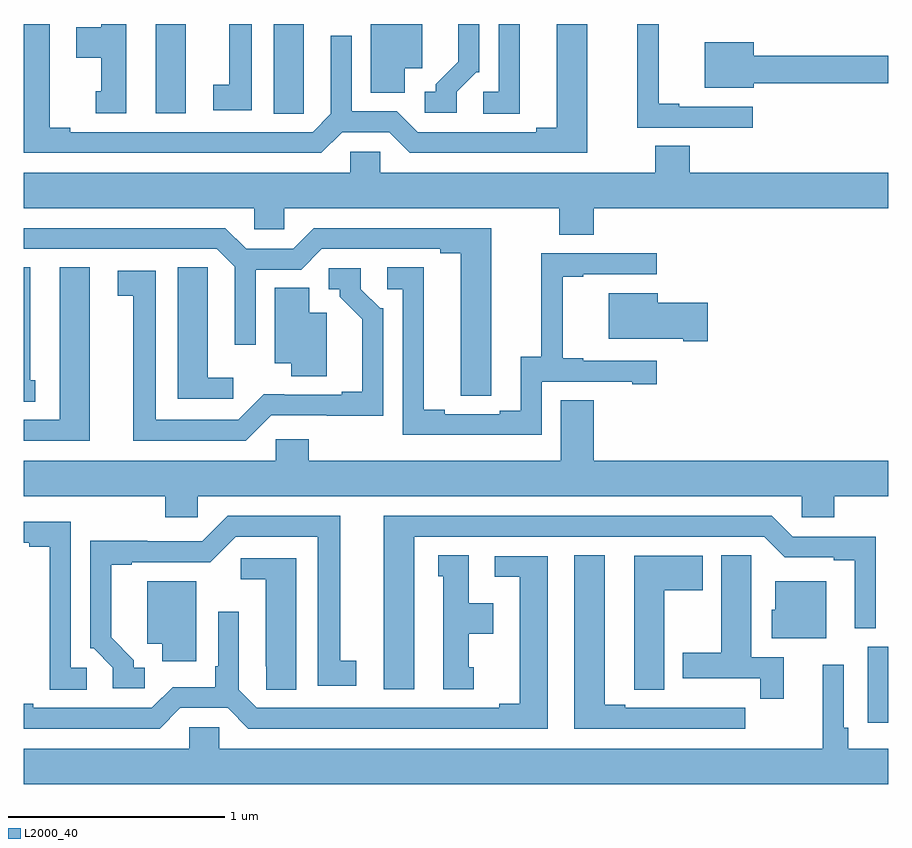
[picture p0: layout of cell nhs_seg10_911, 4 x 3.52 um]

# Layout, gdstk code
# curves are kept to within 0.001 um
import gdstk
lib = gdstk.Library(unit=1e-6, precision=1e-09)
def R(c, l, rs):  # rectangles x0, y0, x1, y1
    for r in rs: c.add(gdstk.rectangle(r[:2], r[2:], *l))
def P(c, l, *ps):  # polygons
    for p in ps: c.add(gdstk.Polygon(p, *l))
L2000_40 = (2000, 40)

nhs_seg10_911 = lib.new_cell('nhs_seg10_911')
R(nhs_seg10_911, L2000_40, [(160.904,1299.267,161,1299.619), (157.61,1302.087,157.75,1302.5)])
P(nhs_seg10_911, L2000_40, [(158.473,1302),(158.691,1302),(158.787,1301.904),(159.607,1301.904),(159.607,1302.5),(159.467,1302.5),(159.467,1302.02),(159.371,1302.02),(159.371,1302),(158.823,1302),(158.727,1302.096),(158.517,1302.096),(158.517,1302.445),(158.421,1302.445),(158.421,1302.084),(158.337,1302),(157.216,1302),(157.216,1302.02),(157.12,1302.02),(157.12,1302.5),(157,1302.5),(157,1301.904),(158.377,1301.904)],
  [(158.764,1302.296),(158.845,1302.296),(158.845,1302.5),(158.606,1302.5),(158.606,1302.181),(158.764,1302.181)],
  [(160.372,1302.117),(160.033,1302.117),(160.033,1302.13),(159.938,1302.13),(159.938,1302.5),(159.743,1302.5),(159.743,1302.499),(159.838,1302.499),(159.838,1302.021),(160.372,1302.021)],
  [(159.295,1302.5),(159.198,1302.5),(159.198,1302.186),(159.126,1302.186),(159.126,1302.085),(159.295,1302.085)],
  [(158.056,1302.5),(157.952,1302.5),(157.952,1302.218),(157.878,1302.218),(157.878,1302.102),(158.056,1302.102)],
  [(158.295,1302.193),(158.296,1302.193),(158.296,1302.5),(158.156,1302.5),(158.156,1302.085),(158.295,1302.085)],
  [(157.474,1302.5),(157.358,1302.5),(157.358,1302.484),(157.244,1302.484),(157.244,1302.344),(157.358,1302.344),(157.358,1302.189),(157.334,1302.189),(157.334,1302.087),(157.474,1302.087)],
  [(159.003,1302.186),(159.093,1302.276),(159.108,1302.276),(159.108,1302.5),(159.011,1302.5),(159.011,1302.326),(158.906,1302.221),(158.906,1302.186),(158.856,1302.186),(158.856,1302.09),(159.003,1302.09)],
  [(160.378,1302.225),(161,1302.225),(161,1302.353),(160.378,1302.353),(160.378,1302.415),(160.151,1302.415),(160.151,1302.206),(160.378,1302.206)],
  [(159.638,1301.648),(161,1301.648),(161,1301.812),(160.082,1301.812),(160.082,1301.936),(159.922,1301.936),(159.922,1301.812),(158.649,1301.812),(158.649,1301.91),(158.511,1301.91),(158.511,1301.812),(157,1301.812),(157,1301.648),(158.067,1301.648),(158.067,1301.55),(158.205,1301.55),(158.205,1301.648),(159.478,1301.648),(159.478,1301.524),(159.638,1301.524)],
  [(159.162,1300.888),(159.163,1301.556),(158.343,1301.556),(158.247,1301.46),(158.029,1301.46),(157.933,1301.556),(157,1301.556),(157,1301.46),(157.893,1301.46),(157.977,1301.376),(157.977,1301.016),(158.073,1301.016),(158.073,1301.364),(158.283,1301.364),(158.379,1301.46),(158.927,1301.46),(158.927,1301.44),(159.023,1301.44),(159.023,1300.78),(159.162,1300.78)],
  [(159.396,1300.845),(159.815,1300.845),(159.815,1300.833),(159.928,1300.833),(159.928,1300.941),(159.589,1300.941),(159.589,1300.954),(159.494,1300.954),(159.494,1301.331),(159.589,1301.331),(159.589,1301.343),(159.928,1301.343),(159.928,1301.439),(159.394,1301.439),(159.394,1300.961),(159.299,1300.961),(159.299,1300.71),(159.203,1300.71),(159.203,1300.695),(158.947,1300.695),(158.947,1300.715),(158.851,1300.715),(158.851,1301.375),(158.682,1301.375),(158.682,1301.274),(158.754,1301.274),(158.754,1300.599),(159.396,1300.599)],
  [(157.969,1300.864),(157.852,1300.864),(157.852,1301.267),(157.851,1301.267),(157.851,1301.375),(157.712,1301.375),(157.712,1300.767),(157.969,1300.767)],
  [(157.306,1301.374),(157.166,1301.374),(157.166,1300.668),(157,1300.668),(157,1300.572),(157.306,1300.572)],
  [(157.054,1300.851),(157.03,1300.851),(157.03,1301.374),(157,1301.374),(157,1300.753),(157.054,1300.753)],
  [(158.145,1300.689),(158.664,1300.688),(158.664,1301.184),(158.649,1301.184),(158.559,1301.274),(158.559,1301.37),(158.412,1301.37),(158.412,1301.274),(158.462,1301.274),(158.462,1301.239),(158.567,1301.134),(158.567,1300.798),(158.471,1300.798),(158.471,1300.785),(158.11,1300.786),(157.992,1300.668),(157.612,1300.668),(157.612,1301.358),(157.434,1301.358),(157.434,1301.242),(157.508,1301.242),(157.508,1300.572),(158.028,1300.572)],
  [(158.401,1301.164),(158.32,1301.164),(158.32,1301.279),(158.162,1301.279),(158.162,1300.931),(158.237,1300.931),(158.237,1300.87),(158.401,1300.87)],
  [(160.165,1301.211),(159.934,1301.211),(159.934,1301.254),(159.707,1301.254),(159.707,1301.045),(160.052,1301.045),(160.052,1301.033),(160.165,1301.033)],
  [(157.806,1300.316),(160.599,1300.316),(160.599,1300.218),(160.751,1300.218),(160.751,1300.316),(161,1300.316),(161,1300.48),(159.638,1300.48),(159.638,1300.76),(159.485,1300.76),(159.485,1300.48),(158.318,1300.48),(158.318,1300.578),(158.166,1300.578),(158.166,1300.48),(157,1300.48),(157,1300.316),(157.655,1300.316),(157.655,1300.218),(157.806,1300.218)],
  [(158.806,1300.128),(160.425,1300.128),(160.521,1300.032),(160.748,1300.032),(160.748,1300.02),(160.844,1300.02),(160.844,1299.704),(160.941,1299.704),(160.941,1300.128),(160.557,1300.128),(160.461,1300.224),(158.666,1300.224),(158.666,1299.423),(158.806,1299.423)],
  [(157.561,1299.522),(157.51,1299.522),(157.51,1299.557),(157.405,1299.662),(157.405,1299.999),(157.501,1299.999),(157.501,1300.011),(157.863,1300.011),(157.98,1300.128),(158.36,1300.128),(158.36,1299.438),(158.539,1299.438),(158.539,1299.554),(158.464,1299.554),(158.464,1300.224),(157.944,1300.224),(157.827,1300.107),(157.571,1300.107),(157.571,1300.109),(157.308,1300.109),(157.308,1299.612),(157.323,1299.612),(157.413,1299.522),(157.413,1299.426),(157.561,1299.426)],
  [(157.291,1299.522),(157.218,1299.522),(157.218,1300.197),(157,1300.197),(157,1300.101),(157.025,1300.101),(157.025,1300.081),(157.121,1300.081),(157.121,1299.421),(157.291,1299.421)],
  [(159.082,1299.525),(159.058,1299.525),(159.058,1299.68),(159.172,1299.68),(159.172,1299.82),(159.058,1299.82),(159.058,1300.043),(158.918,1300.043),(158.918,1299.945),(158.942,1299.945),(158.942,1299.423),(159.082,1299.423)],
  [(160.339,1299.336),(160.226,1299.336),(160.226,1299.337),(160.06,1299.337),(160.06,1299.336),(159.784,1299.336),(159.784,1299.351),(159.688,1299.351),(159.688,1300.043),(159.548,1300.043),(159.548,1299.24),(160.339,1299.24)],
  [(160.517,1299.57),(160.366,1299.57),(160.366,1299.932),(160.365,1299.932),(160.365,1300.043),(160.226,1300.043),(160.226,1299.591),(160.049,1299.591),(160.049,1299.474),(160.408,1299.474),(160.408,1299.378),(160.517,1299.378)],
  [(159.964,1299.88),(160.141,1299.88),(160.141,1300.039),(159.824,1300.039),(159.824,1299.529),(159.825,1299.529),(159.825,1299.421),(159.964,1299.421)],
  [(157.725,1299.336),(157.943,1299.336),(158.039,1299.24),(159.424,1299.24),(159.424,1300.038),(159.18,1300.038),(159.18,1299.942),(159.296,1299.942),(159.296,1299.356),(159.2,1299.356),(159.2,1299.336),(158.079,1299.336),(157.995,1299.42),(157.995,1299.781),(157.899,1299.781),(157.899,1299.529),(157.887,1299.529),(157.887,1299.432),(157.689,1299.432),(157.593,1299.336),(157.045,1299.336),(157.045,1299.356),(157,1299.356),(157,1299.24),(157.629,1299.24)],
  [(158.26,1300.029),(158.004,1300.029),(158.004,1299.932),(158.12,1299.932),(158.12,1299.529),(158.121,1299.529),(158.121,1299.421),(158.26,1299.421)],
  [(157.798,1299.922),(157.571,1299.922),(157.571,1299.632),(157.64,1299.632),(157.64,1299.552),(157.798,1299.552)],
  [(160.714,1299.922),(160.478,1299.922),(160.478,1299.789),(160.46,1299.789),(160.46,1299.659),(160.714,1299.659)],
  [(161,1299.148),(160.814,1299.148),(160.814,1299.244),(160.794,1299.244),(160.794,1299.535),(160.697,1299.535),(160.697,1299.148),(157.905,1299.148),(157.905,1299.246),(157.767,1299.246),(157.767,1299.148),(157,1299.148),(157,1298.984),(161,1298.984)])

lib.write_gds('nhs_seg10_911.gds')
